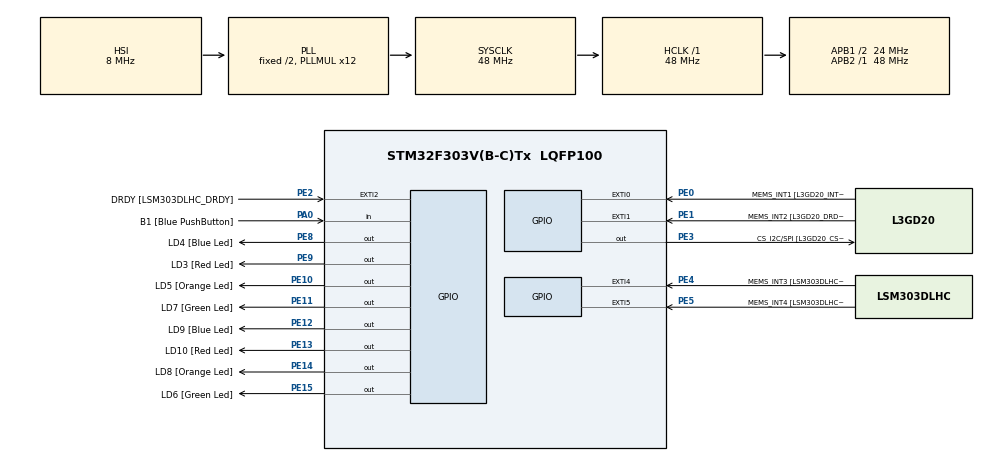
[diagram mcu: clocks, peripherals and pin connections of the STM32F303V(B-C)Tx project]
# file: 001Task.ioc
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Mcu.Family=STM32F3
Mcu.Name=STM32F303V(B-C)Tx
Mcu.Package=LQFP100
NVIC.PriorityGroup=NVIC_PRIORITYGROUP_4
NVIC.TIM6_DAC_IRQn=true\:15\:0\:false\:false\:true\:false\:true\:true
NVIC.TimeBase=TIM6_DAC_IRQn
NVIC.TimeBaseIP=TIM6
PA0.GPIO_Label=B1 [Blue PushButton]
PA0.GPIO_Mode=GPIO_MODE_INPUT
PA0.GPIO_PuPd=GPIO_NOPULL
PA0.Signal=GPIO_Input
PA11.GPIO_Label=DM
PA11.Signal=USB_DM
PA12.GPIO_Label=DP
PA12.Signal=USB_DP
PA13.GPIO_Label=SWDIO
PA13.Signal=SYS_JTMS-SWDIO
PA14.GPIO_Label=SWCLK
PA14.Signal=SYS_JTCK-SWCLK
PA5.GPIO_Label=SPI1_SCK [L3GD20_SCL/SPC]
PA5.GPIO_Mode=GPIO_MODE_AF_PP
PA5.GPIO_PuPd=GPIO_NOPULL
PA5.GPIO_Speed=GPIO_SPEED_FREQ_LOW
PA5.Signal=SPI1_SCK
PA6.GPIO_Label=SPI1_MISO [L3GD20_SA0/SDO]
PA6.GPIO_Mode=GPIO_MODE_AF_PP
PA6.GPIO_PuPd=GPIO_NOPULL
PA6.GPIO_Speed=GPIO_SPEED_FREQ_LOW
PA6.Signal=SPI1_MISO
PA7.GPIO_Label=SPI1_MISO [L3GD20_SDA/SDI/SDO]
PA7.GPIO_Mode=GPIO_MODE_AF_PP
PA7.GPIO_PuPd=GPIO_NOPULL
PA7.GPIO_Speed=GPIO_SPEED_FREQ_LOW
PA7.Signal=SPI1_MOSI
PB3.GPIO_Label=SWO
PB3.Signal=SYS_JTDO-TRACESWO
PB6.GPIO_FM6=__NULL
PB6.GPIO_Label=I2C1_SCL [LSM303DLHC_SCL]
PB6.GPIO_Mode=GPIO_MODE_AF_OD
PB6.GPIO_PuPd=GPIO_NOPULL
PB6.GPIO_Speed=GPIO_SPEED_FREQ_LOW
PB6.Signal=I2C1_SCL
PB7.GPIO_FM7=__NULL
PB7.GPIO_Label=I2C1_SDA [LSM303DLHC_SDA]
PB7.GPIO_Mode=GPIO_MODE_AF_OD
PB7.GPIO_PuPd=GPIO_NOPULL
PB7.GPIO_Speed=GPIO_SPEED_FREQ_LOW
PB7.Signal=I2C1_SDA
PC14-OSC32_IN.GPIO_Label=OSC32_IN
PC14-OSC32_IN.Signal=RCC_OSC32_IN
PC15-OSC32_OUT.GPIO_Label=OSC32_OUT
PC15-OSC32_OUT.Signal=RCC_OSC32_OUT
PE0.GPIO_Label=MEMS_INT1 [L3GD20_INT1]
PE0.GPIO_ModeDefaultEXTI=GPIO_MODE_EVT_RISING
PE0.GPIO_PuPd=GPIO_NOPULL
PE0.Signal=GPXTI0
PE1.GPIO_Label=MEMS_INT2 [L3GD20_DRDY/INT2]
PE1.GPIO_ModeDefaultEXTI=GPIO_MODE_EVT_RISING
PE1.GPIO_PuPd=GPIO_NOPULL
PE1.Signal=GPXTI1
PE10.GPIO_Label=LD5 [Orange Led]
PE10.GPIO_ModeDefaultOutputPP=GPIO_MODE_OUTPUT_PP
PE10.GPIO_PuPd=GPIO_NOPULL
PE10.GPIO_Speed=GPIO_SPEED_FREQ_LOW
PE10.Signal=GPIO_Output
PE11.GPIO_Label=LD7 [Green Led]
PE11.GPIO_ModeDefaultOutputPP=GPIO_MODE_OUTPUT_PP
PE11.GPIO_PuPd=GPIO_NOPULL
PE11.GPIO_Speed=GPIO_SPEED_FREQ_LOW
PE11.Signal=GPIO_Output
PE12.GPIO_Label=LD9 [Blue Led]
PE12.GPIO_ModeDefaultOutputPP=GPIO_MODE_OUTPUT_PP
PE12.GPIO_PuPd=GPIO_NOPULL
PE12.GPIO_Speed=GPIO_SPEED_FREQ_LOW
PE12.Signal=GPIO_Output
PE13.GPIO_Label=LD10 [Red Led]
PE13.GPIO_ModeDefaultOutputPP=GPIO_MODE_OUTPUT_PP
PE13.GPIO_PuPd=GPIO_NOPULL
PE13.GPIO_Speed=GPIO_SPEED_FREQ_LOW
PE13.Signal=GPIO_Output
PE14.GPIO_Label=LD8 [Orange Led]
PE14.GPIO_ModeDefaultOutputPP=GPIO_MODE_OUTPUT_PP
PE14.GPIO_PuPd=GPIO_NOPULL
PE14.GPIO_Speed=GPIO_SPEED_FREQ_LOW
PE14.Signal=GPIO_Output
PE15.GPIO_Label=LD6 [Green Led]
PE15.GPIO_ModeDefaultOutputPP=GPIO_MODE_OUTPUT_PP
PE15.GPIO_PuPd=GPIO_NOPULL
PE15.GPIO_Speed=GPIO_SPEED_FREQ_LOW
PE15.Signal=GPIO_Output
PE2.GPIO_Label=DRDY [LSM303DLHC_DRDY]
PE2.GPIO_ModeDefaultEXTI=GPIO_MODE_EVT_RISING
PE2.GPIO_PuPd=GPIO_NOPULL
PE2.Signal=GPXTI2
PE3.GPIO_Label=CS_I2C/SPI [L3GD20_CS_I2C/SPI]
PE3.GPIO_ModeDefaultOutputPP=GPIO_MODE_OUTPUT_PP
PE3.GPIO_PuPd=GPIO_NOPULL
PE3.GPIO_Speed=GPIO_SPEED_FREQ_LOW
PE3.Signal=GPIO_Output
PE4.GPIO_Label=MEMS_INT3 [LSM303DLHC_INT1]
PE4.GPIO_ModeDefaultEXTI=GPIO_MODE_EVT_RISING
PE4.GPIO_PuPd=GPIO_NOPULL
PE4.Signal=GPXTI4
PE5.GPIO_Label=MEMS_INT4 [LSM303DLHC_INT2]
PE5.GPIO_ModeDefaultEXTI=GPIO_MODE_EVT_RISING
PE5.GPIO_PuPd=GPIO_NOPULL
PE5.Signal=GPXTI5
PE8.GPIO_Label=LD4 [Blue Led]
PE8.GPIO_ModeDefaultOutputPP=GPIO_MODE_OUTPUT_PP
PE8.GPIO_PuPd=GPIO_NOPULL
PE8.GPIO_Speed=GPIO_SPEED_FREQ_LOW
PE8.Signal=GPIO_Output
PE9.GPIO_Label=LD3 [Red Led]
PE9.GPIO_ModeDefaultOutputPP=GPIO_MODE_OUTPUT_PP
PE9.GPIO_PuPd=GPIO_NOPULL
PE9.GPIO_Speed=GPIO_SPEED_FREQ_LOW
PE9.Signal=GPIO_Output
PF0-OSC_IN.GPIO_Label=OSC_IN
PF0-OSC_IN.Signal=RCC_OSC_IN
PF1-OSC_OUT.GPIO_Label=OSC_OUT
PF1-OSC_OUT.Signal=RCC_OSC_OUT
ProjectManager.HeapSize=0x200
ProjectManager.StackSize=0x400
ProjectManager.TargetToolchain=STM32CubeIDE
RCC.AHBFreq_Value=48000000
RCC.APB1CLKDivider=RCC_HCLK_DIV2
RCC.APB1Freq_Value=24000000
RCC.APB1TimFreq_Value=48000000
RCC.APB2Freq_Value=48000000
RCC.APB2TimFreq_Value=48000000
RCC.CortexFreq_Value=48000000
RCC.HCLKFreq_Value=48000000
RCC.HSE_VALUE=8000000
RCC.HSI_VALUE=8000000
RCC.LSE_VALUE=32768
RCC.PLLMUL=RCC_PLL_MUL12
RCC.SYSCLKFreq_VALUE=48000000
RCC.SYSCLKSourceVirtual=RCC_SYSCLKSOURCE_PLLCLK
RCC.USBFreq_Value=48000000
VP_SYS_VS_tim6.Mode=TIM6
board=STM32F3DISCOVERY

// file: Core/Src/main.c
/* USER CODE BEGIN Header */
/**
  ******************************************************************************
  * @file           : main.c
  * @brief          : Main program body
  ******************************************************************************
  * @attention
  *
  * Copyright (c) 2023 STMicroelectronics.
  * All rights reserved.
  *
  * This software is licensed under terms that can be found in the LICENSE file
  * in the root directory of this software component.
  * If no LICENSE file comes with this software, it is provided AS-IS.
  *
  ******************************************************************************
  */
/* USER CODE END Header */
#include "main.h"

/* USER CODE BEGIN Includes */
#include <stdio.h>
#include"FreeRTOS.h"
#include "task.h"
/* USER CODE END Includes */

/* USER CODE BEGIN PD */
//#define configSUPPORT_DYNAMIC_ALLOCATION 1
/* USER CODE END PD */

/* USER CODE BEGIN PV */
#define DWT_CTRL		(*(volatile uint32_t *) 0xE0001000)

/* USER CODE END PV */

void SystemClock_Config(void);
static void MX_GPIO_Init(void);
/* USER CODE BEGIN PFP */
static void task1_handler(void* parameters);
static void task2_handler(void* parameters);

/* USER CODE END PFP */

int main(void)
{
  /* USER CODE BEGIN 1 */
	TaskHandle_t task1_hadle;
	TaskHandle_t task2_hadle;
	BaseType_t Status;
  /* USER CODE END 1 */

  /* MCU Configuration--------------------------------------------------------*/

  /* Reset of all peripherals, Initializes the Flash interface and the Systick. */
  HAL_Init();

  /* Configure the system clock */
  SystemClock_Config();

  /* Initialize all configured peripherals */
  MX_GPIO_Init();
  /* USER CODE BEGIN 2 */

  DWT_CTRL |= (1 << 0);

  SEGGER_SYSVIEW_Conf();

  SEGGER_SYSVIEW_Start();

  Status = xTaskCreate(task1_handler, "Task-1", configMINIMAL_STACK_SIZE, "Hello world from Task-1", 2, &task1_hadle );
  configASSERT(Status == pdPASS);

  Status = xTaskCreate(task2_handler, "Task-2", configMINIMAL_STACK_SIZE, "Hello world from Task-2", 2, &task2_hadle );
  configASSERT(Status == pdPASS);

  //START SCHEDULER
  vTaskStartScheduler();

  /* USER CODE END 2 */

  /* Infinite loop */
  while (1)
  {
  }
}

void SystemClock_Config(void)
{
  RCC_OscInitTypeDef RCC_OscInitStruct = {0};
  RCC_ClkInitTypeDef RCC_ClkInitStruct = {0};

  /** Initializes the RCC Oscillators according to the specified parameters
  * in the RCC_OscInitTypeDef structure.
  */
  RCC_OscInitStruct.OscillatorType = RCC_OSCILLATORTYPE_HSI;
  RCC_OscInitStruct.HSIState = RCC_HSI_ON;
  RCC_OscInitStruct.HSICalibrationValue = RCC_HSICALIBRATION_DEFAULT;
  RCC_OscInitStruct.PLL.PLLState = RCC_PLL_ON;
  RCC_OscInitStruct.PLL.PLLSource = RCC_PLLSOURCE_HSI;
  RCC_OscInitStruct.PLL.PLLMUL = RCC_PLL_MUL12;
  if (HAL_RCC_OscConfig(&RCC_OscInitStruct) != HAL_OK)
  {
    Error_Handler();
  }

  /** Initializes the CPU, AHB and APB buses clocks
  */
  RCC_ClkInitStruct.ClockType = RCC_CLOCKTYPE_HCLK|RCC_CLOCKTYPE_SYSCLK
                              |RCC_CLOCKTYPE_PCLK1|RCC_CLOCKTYPE_PCLK2;
  RCC_ClkInitStruct.SYSCLKSource = RCC_SYSCLKSOURCE_PLLCLK;
  RCC_ClkInitStruct.AHBCLKDivider = RCC_SYSCLK_DIV1;
  RCC_ClkInitStruct.APB1CLKDivider = RCC_HCLK_DIV2;
  RCC_ClkInitStruct.APB2CLKDivider = RCC_HCLK_DIV1;

  if (HAL_RCC_ClockConfig(&RCC_ClkInitStruct, FLASH_LATENCY_1) != HAL_OK)
  {
    Error_Handler();
  }
}

static void MX_GPIO_Init(void)
{
  GPIO_InitTypeDef GPIO_InitStruct = {0};

  /* GPIO Ports Clock Enable */
  __HAL_RCC_GPIOE_CLK_ENABLE();
  __HAL_RCC_GPIOC_CLK_ENABLE();
  __HAL_RCC_GPIOF_CLK_ENABLE();
  __HAL_RCC_GPIOA_CLK_ENABLE();
  __HAL_RCC_GPIOB_CLK_ENABLE();

  /*Configure GPIO pin Output Level */
  HAL_GPIO_WritePin(GPIOE, CS_I2C_SPI_Pin|LD4_Pin|LD3_Pin|LD5_Pin
                          |LD7_Pin|LD9_Pin|LD10_Pin|LD8_Pin
                          |LD6_Pin, GPIO_PIN_RESET);

  /*Configure GPIO pins : DRDY_Pin MEMS_INT3_Pin MEMS_INT4_Pin MEMS_INT1_Pin
                           MEMS_INT2_Pin */
  GPIO_InitStruct.Pin = DRDY_Pin|MEMS_INT3_Pin|MEMS_INT4_Pin|MEMS_INT1_Pin
                          |MEMS_INT2_Pin;
  GPIO_InitStruct.Mode = GPIO_MODE_EVT_RISING;
  GPIO_InitStruct.Pull = GPIO_NOPULL;
  HAL_GPIO_Init(GPIOE, &GPIO_InitStruct);

  /*Configure GPIO pins : CS_I2C_SPI_Pin LD4_Pin LD3_Pin LD5_Pin
                           LD7_Pin LD9_Pin LD10_Pin LD8_Pin
                           LD6_Pin */
  GPIO_InitStruct.Pin = CS_I2C_SPI_Pin|LD4_Pin|LD3_Pin|LD5_Pin
                          |LD7_Pin|LD9_Pin|LD10_Pin|LD8_Pin
                          |LD6_Pin;
  GPIO_InitStruct.Mode = GPIO_MODE_OUTPUT_PP;
  GPIO_InitStruct.Pull = GPIO_NOPULL;
  GPIO_InitStruct.Speed = GPIO_SPEED_FREQ_LOW;
  HAL_GPIO_Init(GPIOE, &GPIO_InitStruct);

  /*Configure GPIO pin : B1_Pin */
  GPIO_InitStruct.Pin = B1_Pin;
  GPIO_InitStruct.Mode = GPIO_MODE_INPUT;
  GPIO_InitStruct.Pull = GPIO_NOPULL;
  HAL_GPIO_Init(B1_GPIO_Port, &GPIO_InitStruct);

  /*Configure GPIO pins : SPI1_SCK_Pin SPI1_MISO_Pin SPI1_MISOA7_Pin */
  GPIO_InitStruct.Pin = SPI1_SCK_Pin|SPI1_MISO_Pin|SPI1_MISOA7_Pin;
  GPIO_InitStruct.Mode = GPIO_MODE_AF_PP;
  GPIO_InitStruct.Pull = GPIO_NOPULL;
  GPIO_InitStruct.Speed = GPIO_SPEED_FREQ_LOW;
  GPIO_InitStruct.Alternate = GPIO_AF5_SPI1;
  HAL_GPIO_Init(GPIOA, &GPIO_InitStruct);

  /*Configure GPIO pins : DM_Pin DP_Pin */
  GPIO_InitStruct.Pin = DM_Pin|DP_Pin;
  GPIO_InitStruct.Mode = GPIO_MODE_AF_PP;
  GPIO_InitStruct.Pull = GPIO_NOPULL;
  GPIO_InitStruct.Speed = GPIO_SPEED_FREQ_HIGH;
  GPIO_InitStruct.Alternate = GPIO_AF14_USB;
  HAL_GPIO_Init(GPIOA, &GPIO_InitStruct);

  /*Configure GPIO pins : I2C1_SCL_Pin I2C1_SDA_Pin */
  GPIO_InitStruct.Pin = I2C1_SCL_Pin|I2C1_SDA_Pin;
  GPIO_InitStruct.Mode = GPIO_MODE_AF_OD;
  GPIO_InitStruct.Pull = GPIO_NOPULL;
  GPIO_InitStruct.Speed = GPIO_SPEED_FREQ_LOW;
  GPIO_InitStruct.Alternate = GPIO_AF4_I2C1;
  HAL_GPIO_Init(GPIOB, &GPIO_InitStruct);

}

/* USER CODE BEGIN 4 */
static void task1_handler(void* parameters){

	char msg[100];
	while(1){
		//printf("%s\n", (char*) parameters);
		snprintf(msg, 100, "%s\n", (char*)parameters);
		SEGGER_SYSVIEW_PrintfTarget(msg);

		taskYIELD();
	}
}

static void task2_handler(void* parameters){

	char msg[100];
	while(1){
		//printf("%s\n", (char*) parameters);
		snprintf(msg, 100, "%s\n", (char*)parameters);
		SEGGER_SYSVIEW_PrintfTarget(msg);
		taskYIELD();
	}
}

/* USER CODE END 4 */

void HAL_TIM_PeriodElapsedCallback(TIM_HandleTypeDef *htim)
{
  if (htim->Instance == TIM6) {
    HAL_IncTick();
  }
}

void Error_Handler(void)
{
  __disable_irq();
  while (1)
  {
  }
}
